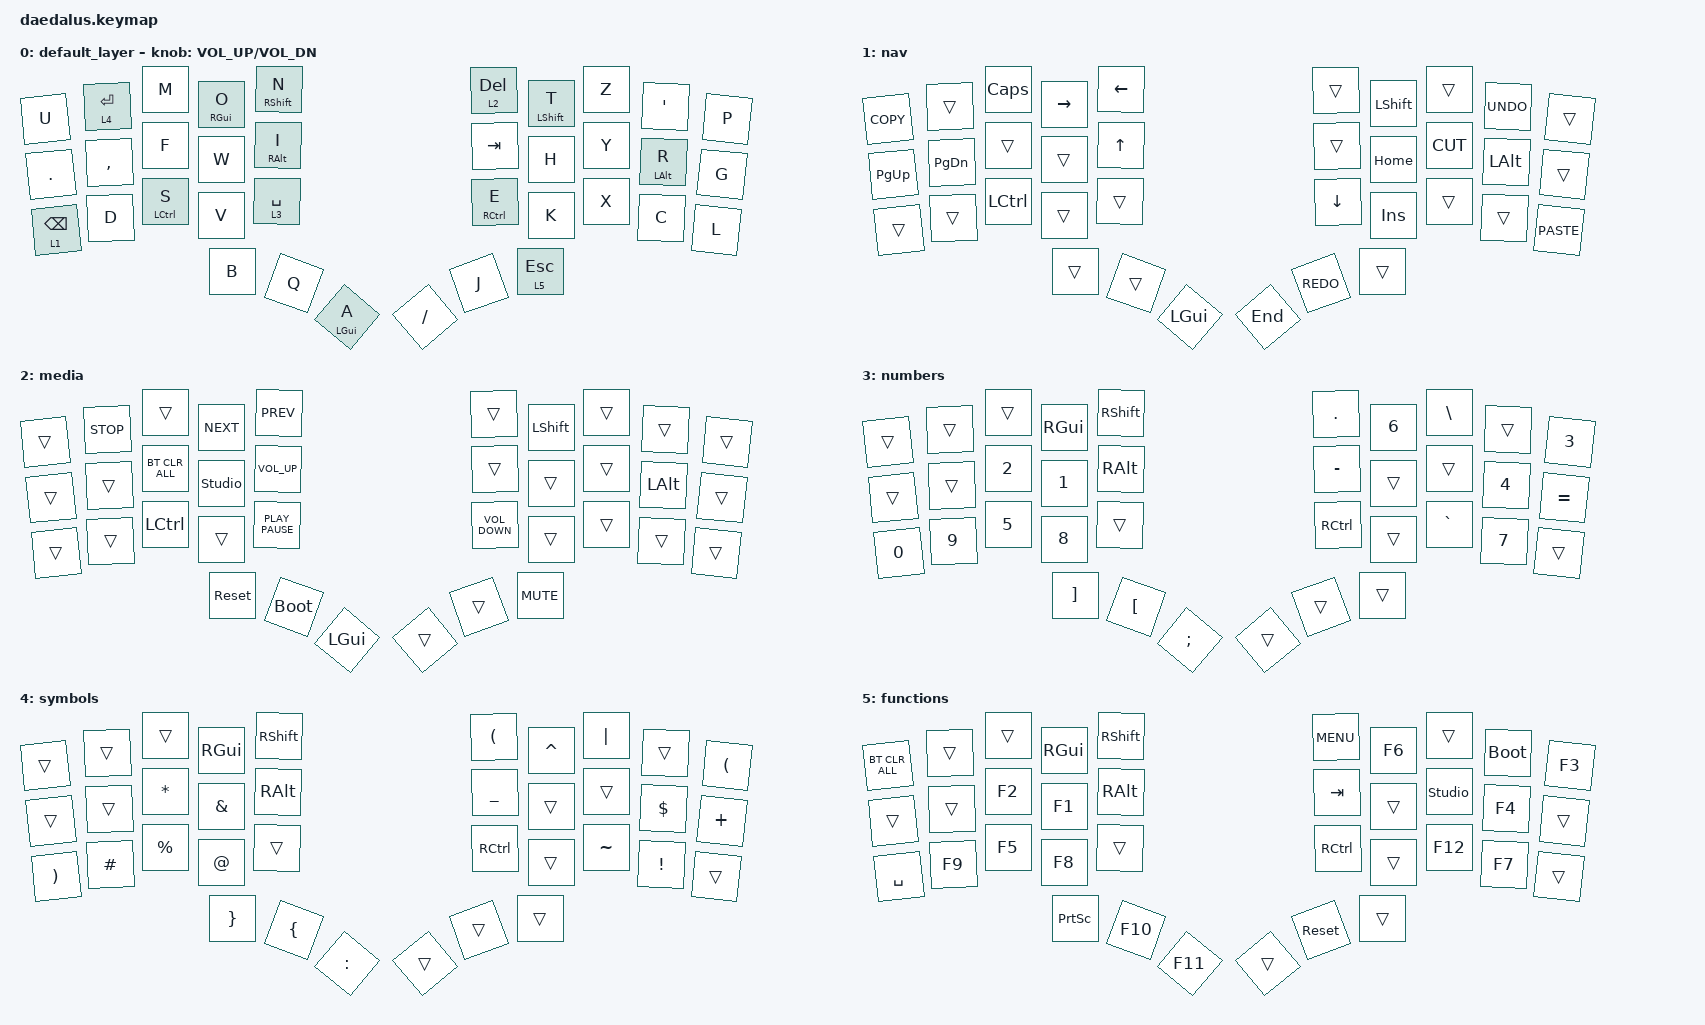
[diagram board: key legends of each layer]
/*
 * Copyright (c) 2020 The ZMK Contributors
 *
 * SPDX-License-Identifier: MIT
 */

#include <behaviors.dtsi>
#include <dt-bindings/zmk/keys.h>
#include <dt-bindings/zmk/bt.h>
/*
#define DEFAULT 0
#define NAV 1
#define MEDIA 2
#define NUMBERS 3
#define SYMB 4
#define FUNC 5
#define EX1 6
#define EX2 7
*/

/ {
    input_processors {
        zip_scroll_scaler: zip_scroll_scaler {
            compatible = "zmk,input-processor-scaler";
            #input-processor-cells = <2>;
            type = <INPUT_EV_REL>;
            codes = <INPUT_REL_WHEEL INPUT_REL_HWHEEL>;
            track-remainders;
        };
    };
};

// cirque trackpad input&layer control
&glidepoint_listener {
    input-processors = <&zip_xy_transform (INPUT_TRANSFORM_XY_SWAP | INPUT_TRANSFORM_X_INVERT | INPUT_TRANSFORM_Y_INVERT)>, <&zip_xy_scaler 5 1>;

    lowspeedmode {
        layers = <NUM>;
        input-processors = <&zip_xy_transform (INPUT_TRANSFORM_XY_SWAP | INPUT_TRANSFORM_X_INVERT | INPUT_TRANSFORM_Y_INVERT)>, <&zip_xy_scaler 3 1>;
    };
    scroller {
        layers = <NAV>;
        input-processors = <&zip_xy_to_scroll_mapper>,<&zip_scroll_transform (INPUT_TRANSFORM_XY_SWAP)>,<&zip_scroll_scaler 1 32>;
    };
};

/ {
        keymap {
                compatible = "zmk,keymap";

                default_layer {
                bindings = <
/*-------------------------------------------
| Q | W | F | P | B |  | J | L | U | Y | ' |
| A | R | S | T | G |  | M | N | E | I | O |
| X | C | V | D | Z |  | K | H | , | . | / |
        |DEL|BSP|TAB|  |ENT|SPC|ESC|
        (MED|NAV|   )  (SYM|NUM|FNC)
---------------------------------------------*/
&kp Q          &kp W          &kp F              &kp P            &kp B              &kp J          &kp L             &kp U               &kp Y           &kp APOSTROPHE
&htp LEFT_GUI A &htp LEFT_ALT R &htp LEFT_CONTROL S &htp LEFT_SHIFT T &kp G              &kp M          &htp RIGHT_SHIFT N &htp RIGHT_CONTROL E &htp RIGHT_ALT I &htp RIGHT_GUI O
&kp X          &kp C          &kp V              &kp D            &kp Z              &kp K          &kp H             &kp COMMA           &kp DOT         &kp FSLH
                              &lt 2 DEL          &lt 1 BSPC       &kp TAB            &lt 4 ENTER    &lt 3 SPACE       &lt 5 ESC
                >;
                /*Binding for the encoder*/
                sensor-bindings = <&inc_dec_kp K_VOL_UP K_VOL_DN>;
                };

                nav {
/*-------------------------------------------
|   |   |   |   |   |  |RED|PST|CPY|CUT|UND|
|GUI|ALT|CRL|SHF|   |  |CPS|LFT|DWN|UPA|RHT|
|   |   |   |   |   |  |INS|HME|PDW|PUP|END|
        |DEL|BSP|TAB|  |ENT|SPC|ESC|
---------------------------------------------*/
                bindings = <
&trans       &trans       &trans           &trans         &trans        &kp K_REDO   &kp K_PASTE    &kp K_COPY     &kp K_CUT     &kp K_UNDO
&kp LEFT_GUI &kp LEFT_ALT &kp LEFT_CONTROL &kp LEFT_SHIFT &trans        &kp CAPSLOCK &kp LEFT_ARROW &kp DOWN_ARROW &kp UP_ARROW  &kp RIGHT_ARROW
&trans       &trans       &trans           &trans         &trans        &kp INSERT   &kp HOME       &kp PAGE_DOWN  &kp PAGE_UP   &kp END
                          &trans           &trans         &trans        &trans       &trans         &trans
                >;
                };
                media {
/*-------------------------------------------
|BLD|STD|BCA|   |RST|  |   |   |   |   |   |
|GUI|ALT|CRL|SHF|   |  |   |PRV|VUP|VDN|NXT|
|   |   |   |   |   |  |   |   |   |   |   |
        |DEL|BSP|TAB|  |STP|PLP|MUT|
---------------------------------------------*/
                bindings = <
&bootloader    &studio_unlock &bt BT_CLR_ALL   &trans         &sys_reset             &trans     &trans           &trans            &trans          &trans
&kp LEFT_GUI   &kp LEFT_ALT   &kp LEFT_CONTROL &kp LEFT_SHIFT &trans                 &trans     &kp K_PREV       &kp K_VOLUME_DOWN &kp K_VOLUME_UP &kp K_NEXT
&trans         &trans         &trans           &trans         &trans                 &trans     &trans           &trans            &trans          &trans
                              &trans           &trans         &trans                 &kp C_STOP &kp K_PLAY_PAUSE &kp C_MUTE
                >;
                };
                numbers {
/*-------------------------------------------
| [ | 7 | 8 | 9 | ] |  |   |   |   |   |   |
| ; | 4 | 5 | 6 | = |  |   |SHF|CRL|ALT|GUI|
| ` | 1 | 2 | 3 | \ |  |   |   |   |   |   |
        | . | 0 | - |  |   |   |   |
---------------------------------------------*/
                bindings = <
&kp LEFT_BRACKET &kp N1 &kp N2 &kp N3  &kp RIGHT_BRACKET        &trans &trans          &trans            &trans        &trans
&kp SEMICOLON    &kp N4 &kp N5  &kp N6 &kp EQUAL                &trans &kp RIGHT_SHIFT &kp RIGHT_CONTROL &kp RIGHT_ALT &kp RIGHT_GUI
&kp GRAVE        &kp N7 &kp N8  &kp N9 &kp BACKSLASH            &trans &trans          &trans            &trans        &trans
                        &kp DOT &kp N0 &kp MINUS                &trans &trans          &trans
                >;
                };
                symbols {
/*-------------------------------------------
| { | & | * | ( | } |  |   |   |   |   |   |
| : | $ | % | ^ | + |  |   |SHF|CRL|ALT|GUI|
| ~ | ! | @ | # | | |  |   |   |   |   |   |
        | ( | ) | _ |  |   |   |   |
---------------------------------------------*/
                bindings = <
&kp LEFT_BRACE &kp AMPERSAND   &kp ASTERISK &kp LEFT_PARENTHESIS  &kp RIGHT_BRACE        &trans &trans          &trans            &trans        &trans
&kp COLON      &kp DOLLAR      &kp PERCENT  &kp CARET             &kp PLUS               &trans &kp RIGHT_SHIFT &kp RIGHT_CONTROL &kp RIGHT_ALT &kp RIGHT_GUI
&kp TILDE      &kp EXCLAMATION &kp AT_SIGN  &kp HASH              &kp PIPE               &trans &trans          &trans            &trans        &trans
                       &kp LEFT_PARENTHESIS &kp RIGHT_PARENTHESIS &kp UNDERSCORE         &trans &trans          &trans
                >;
                };
                functions {
/*-------------------------------------------
|F10|F1 |F2 |F3 |PTS|  |RST|   |BCA|STD|BLD|
|F11|F4 |F5 |F6 |   |  |   |SHF|CRL|ALT|GUI|
|F12|F1 |F2 |F3 |   |  |   |   |   |   |   |
        |APP|SPC|TAB|  |   |   |   |
---------------------------------------------*/
                bindings = <
&kp F10  &kp F1 &kp F2     &kp F3    &kp PRINTSCREEN         &sys_reset &trans          &bt BT_CLR_ALL    &studio_unlock        &bootloader
&kp F11  &kp F4 &kp F5     &kp F6    &trans                  &trans     &kp RIGHT_SHIFT &kp RIGHT_CONTROL &kp RIGHT_ALT &kp RIGHT_GUI
&kp F12  &kp F7 &kp F8     &kp F9    &trans                  &trans     &trans          &trans            &trans        &trans
                &kp K_MENU &kp SPACE &kp TAB                 &trans     &trans          &trans
                >;
                };
                // Extra layers for changes with ZMK Config
                extra1 {
                        status = "reserved";
                };
                extra2 {
                        status = "reserved";
                };

        };
};
